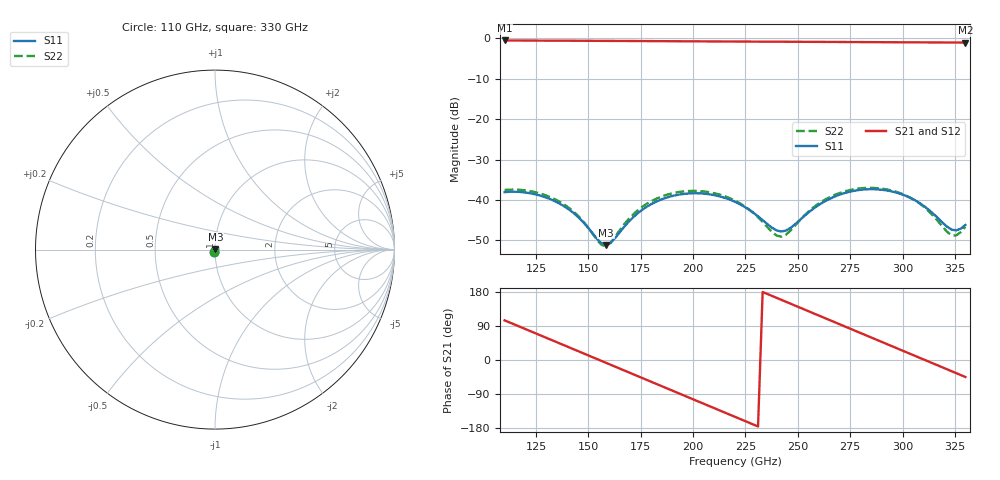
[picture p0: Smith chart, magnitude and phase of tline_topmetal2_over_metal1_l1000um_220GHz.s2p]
#  GHZ S DB R 50
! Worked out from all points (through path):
!   101 points, 110 GHz to 330 GHz, reference 50 ohm
!   highest |S21| = -0.55 dB at 110 GHz (marker M1); lowest = -1.1 dB at 330 GHz (marker M2)
!   group delay of S21, straight-line fit = 6.43 ps
!   lowest |S11| = -51.1 dB at 158.4 GHz (marker M3), VSWR 1.01, Z = 50.2 + j0.155 ohm
!   |S11| at or under -10 dB: start of sweep to end of sweep
!   |S22| runs from -51.4 to -37.0 dB; largest |S21 - S12| = 1.1e-14
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110  -38.06 -108.0  -0.55 104.6  -0.55 104.6  -37.53 -105.6
118.8  -38.08 -135.1  -0.57 84.3  -0.57 84.3  -37.56 -132.1
127.6  -39.01 -162.3  -0.59 63.9  -0.59 63.9  -38.49 -158.7
138.6  -41.60 161.2  -0.61 38.4  -0.61 38.4  -41.17 165.6
147.4  -45.40 124.6  -0.63 18.1  -0.63 18.1  -45.21 129.8
158.4  -51.10 33.6  -0.66 -7.4  -0.66 -7.4  -51.42 33.4
171.6  -44.16 -66.8  -0.69 -38.0  -0.69 -38.0  -43.46 -65.2
184.8  -39.87 -116.3  -0.72 -68.6  -0.72 -68.6  -39.18 -112.2
193.6  -38.64 -144.9  -0.75 -88.9  -0.75 -88.9  -38.00 -139.6
202.4  -38.34 -172.6  -0.77 -109.3  -0.77 -109.3  -37.77 -166.2
220  -40.45 129.5  -0.82 -150.0  -0.82 -150.0  -40.16 138.4
231  -44.03 83.7  -0.84 -175.4  -0.84 -175.4  -44.28 94.3
242  -47.79 5.1  -0.86 159.1  -0.86 159.1  -49.07 8.2
257.4  -42.16 -96.9  -0.90 123.4  -0.90 123.4  -41.85 -95.7
266.2  -39.46 -130.4  -0.92 103.0  -0.92 103.0  -39.05 -127.1
275  -37.92 -159.2  -0.94 82.6  -0.94 82.6  -37.53 -154.6
283.8  -37.34 173.5  -0.96 62.2  -0.96 62.2  -37.00 179.1
294.8  -37.87 139.5  -0.99 36.8  -0.99 36.8  -37.66 146.2
303.6  -39.44 110.5  -1.01 16.4  -1.01 16.4  -39.41 118.2
312.4  -42.37 75.9  -1.03 -4.0  -1.03 -4.0  -42.71 84.5
323.4  -47.32 2.0  -1.06 -29.5  -1.06 -29.5  -48.72 5.0
330  -46.17 -59.4  -1.07 -44.8  -1.07 -44.8  -46.64 -62.2
